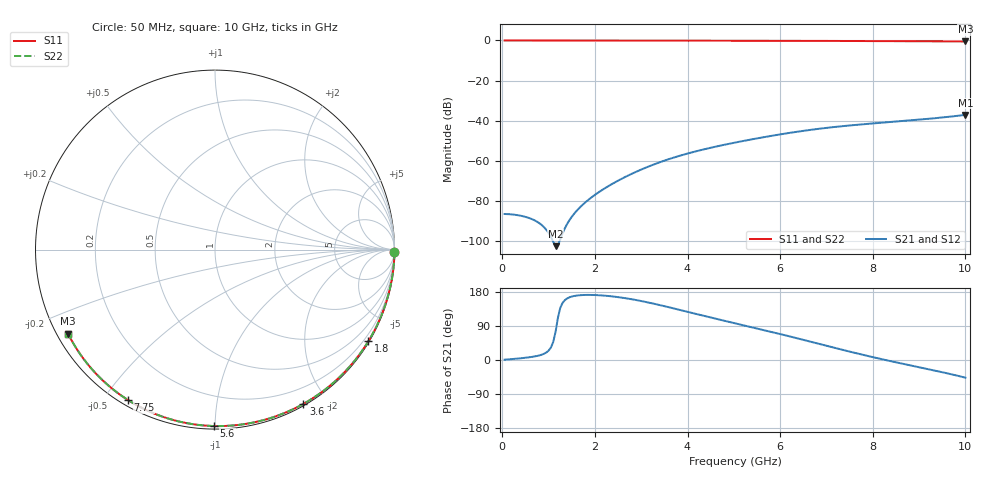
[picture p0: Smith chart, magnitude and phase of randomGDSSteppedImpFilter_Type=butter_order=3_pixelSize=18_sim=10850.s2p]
! freq	dB(S11)	phase(S11)	dB(S12)	phase(S12)
!  dB(S21)	phase(S21)	dB(S22)	phase(S22)
!S-par simulation data
#  GHz  S  DB  R 50
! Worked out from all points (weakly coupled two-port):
!   200 points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, 50 MHz to 10 GHz, reference 50 ohm
!   highest |S21| = -37.16 dB at 10 GHz (marker M1); lowest = -102.7 dB at 1.15 GHz (marker M2)
!   lowest |S11| = -0.5 dB at 10 GHz (marker M3), VSWR 34.35, Z = 1.56 - j13.3 ohm
!   |S11| at or under -10 dB: nowhere
!   |S22| runs from -0.5 to 0.0 dB; largest |S21 - S12| = 0
!   S11 on the Smith chart (normalised r, x): 50 MHz: open; 1.8 GHz: 0.03, -3.62; 3.6 GHz: 0.02, -1.73; 5.6 GHz: 0.02, -0.99; 7.75 GHz: 0.02, -0.58; 10 GHz: 0.03, -0.27
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0.05  -0.00 -0.9  -86.61 0.9  -86.61 0.9  -0.00 -0.9
0.6  -0.01 -10.4  -88.79 7.5  -88.79 7.5  -0.01 -10.4
1.15  -0.02 -19.9  -102.66 74.2  -102.66 74.2  -0.02 -19.9
1.75  -0.04 -30.0  -81.68 171.5  -81.68 171.5  -0.04 -30.0
1.8  -0.04 -30.9  -80.65 171.7  -80.65 171.7  -0.04 -30.9
1.85  -0.04 -31.7  -79.69 171.8  -79.69 171.8  -0.04 -31.7
2  -0.04 -34.2  -77.05 171.4  -77.05 171.4  -0.04 -34.2
2.15  -0.05 -36.7  -74.71 170.4  -74.71 170.4  -0.05 -36.7
2.55  -0.06 -43.3  -69.36 165.1  -69.36 165.1  -0.06 -43.3
2.95  -0.06 -49.8  -64.93 156.8  -64.93 156.8  -0.06 -49.8
3.4  -0.08 -57.0  -60.79 145.0  -60.79 145.0  -0.08 -57.0
3.6  -0.08 -60.2  -59.20 139.2  -59.20 139.2  -0.08 -60.2
3.9  -0.09 -64.9  -57.08 130.2  -57.08 130.2  -0.09 -64.9
4.25  -0.10 -70.2  -54.93 119.6  -54.93 119.6  -0.10 -70.2
5.05  -0.13 -82.3  -50.85 96.2  -50.85 96.2  -0.13 -82.3
5.6  -0.15 -90.3  -48.46 80.4  -48.46 80.4  -0.15 -90.3
6.15  -0.17 -98.1  -46.32 64.0  -46.32 64.0  -0.17 -98.1
6.7  -0.21 -105.8  -44.48 47.0  -44.48 47.0  -0.21 -105.8
7.75  -0.28 -120.1  -41.90 14.7  -41.90 14.7  -0.28 -120.1
8.35  -0.33 -128.2  -40.78 -2.1  -40.78 -2.1  -0.33 -128.2
9.2  -0.42 -139.5  -39.12 -24.3  -39.12 -24.3  -0.42 -139.5
10  -0.51 -150.3  -37.16 -46.7  -37.16 -46.7  -0.51 -150.3
